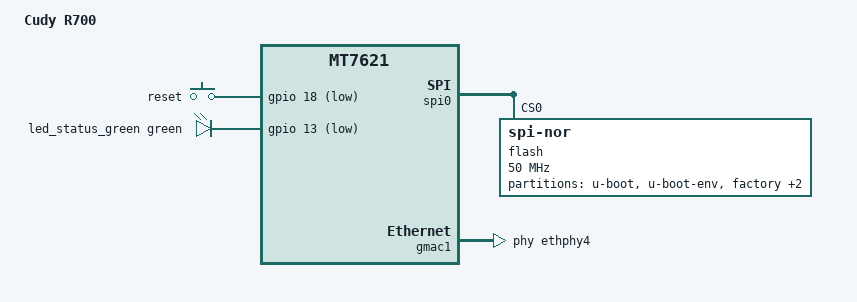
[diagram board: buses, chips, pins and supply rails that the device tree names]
// SPDX-License-Identifier: GPL-2.0-or-later OR MIT

#include "mt7621.dtsi"

#include <dt-bindings/gpio/gpio.h>
#include <dt-bindings/input/input.h>
#include <dt-bindings/leds/common.h>

/ {
	compatible = "cudy,r700", "mediatek,mt7621-soc";
	model = "Cudy R700";

	aliases {
		led-boot = &led_status_green;
		led-failsafe = &led_status_green;
		led-running = &led_status_green;
		label-mac-device = &gmac0;
	};

	chosen {
		bootargs = "console=ttyS0,115200";
	};

	keys {
		compatible = "gpio-keys";

		reset {
			label = "reset";
			gpios = <&gpio 18 GPIO_ACTIVE_LOW>;
			linux,code = <KEY_RESTART>;
		};
	};

	leds {
		compatible = "gpio-leds";

		led_status_green: led-status-green {
			color = <LED_COLOR_ID_GREEN>;
			function = LED_FUNCTION_STATUS;
			gpios = <&gpio 13 GPIO_ACTIVE_LOW>;
		};
	};
};

&gmac0 {
	nvmem-cells = <&macaddr_bdinfo_de00 0>;
	nvmem-cell-names = "mac-address";
};

&spi0 {
	status = "okay";

	flash@0 {
		compatible = "jedec,spi-nor";
		reg = <0>;
		spi-max-frequency = <50000000>;

		partitions {
			compatible = "fixed-partitions";
			#address-cells = <1>;
			#size-cells = <1>;

			partition@0 {
				label = "u-boot";
				reg = <0x0 0x30000>;
				read-only;
			};

			partition@30000 {
				label = "u-boot-env";
				reg = <0x30000 0x10000>;
				read-only;
			};

			partition@40000 {
				label = "factory";
				reg = <0x40000 0x10000>;
				read-only;
			};

			partition@50000 {
				compatible = "denx,uimage";
				label = "firmware";
				reg = <0x50000 0xfa0000>;
			};

			partition@ff0000 {
				label = "bdinfo";
				reg = <0xff0000 0x10000>;
				read-only;

				nvmem-layout {
					compatible = "fixed-layout";
					#address-cells = <1>;
					#size-cells = <1>;

					macaddr_bdinfo_de00: macaddr@de00 {
						compatible = "mac-base";
						reg = <0xde00 0x6>;
						#nvmem-cell-cells = <1>;
					};
				};
			};
		};
	};
};

&state_default {
	gpio {
		groups = "i2c", "jtag", "uart3", "wdt";
		function = "gpio";
	};
};

&gmac1 {
	status = "okay";
	label = "wan";
	phy-handle = <&ethphy4>;

	nvmem-cells = <&macaddr_bdinfo_de00 1>;
	nvmem-cell-names = "mac-address";
};

&ethphy4 {
	/delete-property/ interrupts;
};

&switch0 {
	ports {
		port@0 {
			status = "okay";
			label = "lan5";
		};

		port@1 {
			status = "okay";
			label = "lan4";
		};

		port@2 {
			status = "okay";
			label = "lan3";
		};

		port@3 {
			status = "okay";
			label = "lan2";
		};
	};
};
